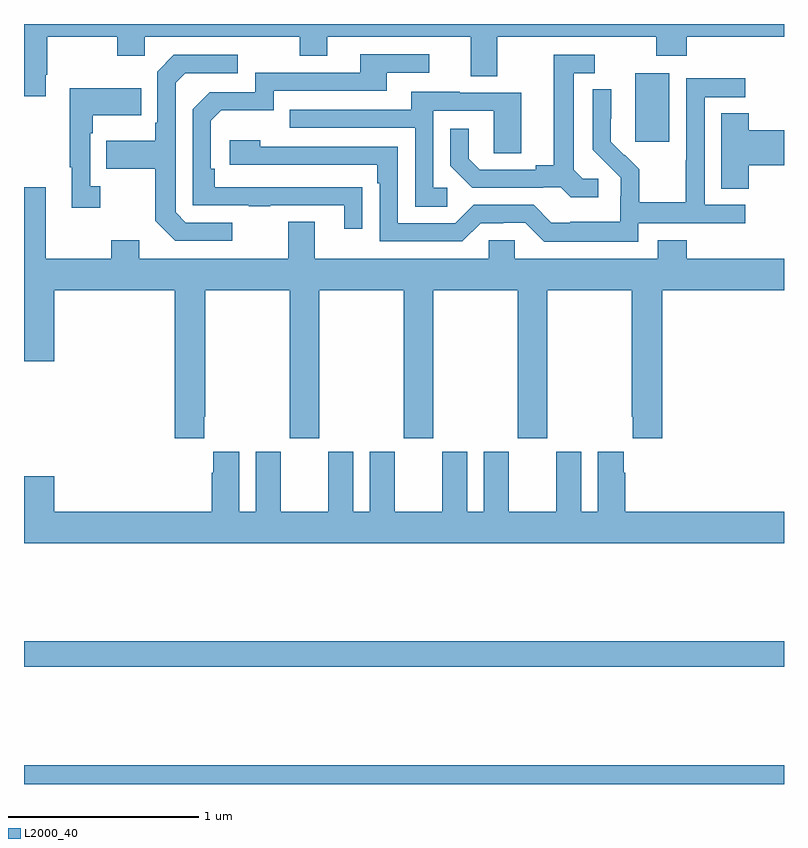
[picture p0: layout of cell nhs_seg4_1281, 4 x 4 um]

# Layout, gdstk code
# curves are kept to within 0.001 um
import gdstk
lib = gdstk.Library(unit=1e-6, precision=1e-09)
def R(c, l, rs):  # rectangles x0, y0, x1, y1
    for r in rs: c.add(gdstk.rectangle(r[:2], r[2:], *l))
def P(c, l, *ps):  # polygons
    for p in ps: c.add(gdstk.Polygon(p, *l))
L2000_40 = (2000, 40)

nhs_seg4_1281 = lib.new_cell('nhs_seg4_1281')
R(nhs_seg4_1281, L2000_40, [(177,780.9,181,781), (177,781.516,181,781.652), (180.218,784.281,180.397,784.642)])
P(nhs_seg4_1281, L2000_40, [(177.115,784.633),(177.123,784.633),(177.123,784.832),(177.49,784.832),(177.49,784.733),(177.636,784.733),(177.636,784.832),(178.45,784.832),(178.45,784.733),(178.597,784.733),(178.597,784.832),(179.351,784.832),(179.351,784.624),(179.491,784.624),(179.491,784.832),(180.328,784.832),(180.328,784.733),(180.488,784.733),(180.488,784.832),(181,784.832),(181,784.9),(177,784.9),(177,784.521),(177.115,784.521)],
  [(178.781,784.04),(178.004,784.041),(178.004,784.138),(177.984,784.138),(177.984,784.392),(178.037,784.445),(178.314,784.445),(178.314,784.548),(178.909,784.548),(178.909,784.644),(179.134,784.644),(179.134,784.74),(178.769,784.74),(178.769,784.644),(178.218,784.644),(178.218,784.542),(177.978,784.542),(177.888,784.452),(177.888,783.945),(178.183,783.945),(178.183,783.94),(178.295,783.94),(178.295,783.945),(178.685,783.945),(178.685,783.822),(178.781,783.822)],
  [(178.096,783.855),(177.852,783.855),(177.798,783.909),(177.798,784.59),(177.849,784.641),(178.126,784.641),(178.126,784.737),(177.789,784.737),(177.702,784.65),(177.702,784.381),(177.69,784.381),(177.69,784.285),(177.433,784.285),(177.433,784.138),(177.69,784.138),(177.69,783.865),(177.795,783.759),(178.096,783.759)],
  [(180.022,784.086),(179.94,784.086),(179.893,784.133),(179.893,784.641),(180.004,784.641),(180.004,784.737),(179.789,784.737),(179.789,784.157),(179.693,784.157),(179.693,784.134),(179.398,784.134),(179.341,784.191),(179.341,784.348),(179.244,784.348),(179.244,784.154),(179.36,784.038),(179.732,784.038),(179.732,784.041),(179.826,784.041),(179.878,783.989),(180.022,783.989)],
  [(180.234,783.852),(180.796,783.852),(180.796,783.948),(180.582,783.948),(180.582,784.515),(180.796,784.515),(180.796,784.614),(180.486,784.614),(180.486,784.184),(180.484,784.184),(180.484,783.961),(180.239,783.961),(180.239,784.135),(180.162,784.212),(180.159,784.209),(180.089,784.28),(180.09,784.556),(179.994,784.556),(179.994,784.238),(180.14,784.09),(180.14,783.993),(180.138,783.993),(180.138,783.859),(179.875,783.859),(179.875,783.855),(179.775,783.855),(179.682,783.948),(179.367,783.948),(179.271,783.852),(178.968,783.852),(178.968,784.254),(178.244,784.254),(178.244,784.288),(178.083,784.288),(178.083,784.158),(178.859,784.158),(178.859,784.061),(178.872,784.061),(178.872,783.756),(179.307,783.756),(179.403,783.852),(179.522,783.852),(179.522,783.855),(179.637,783.855),(179.737,783.755),(180.234,783.755)],
  [(177.4,784.046),(177.348,784.046),(177.348,784.325),(177.361,784.325),(177.361,784.421),(177.617,784.421),(177.617,784.561),(177.24,784.561),(177.24,784.145),(177.251,784.145),(177.251,783.933),(177.4,783.933)],
  [(179.227,784.038),(179.154,784.038),(179.154,784.443),(179.472,784.443),(179.472,784.219),(179.617,784.219),(179.617,784.539),(179.293,784.539),(179.293,784.543),(179.039,784.543),(179.039,784.449),(178.399,784.449),(178.399,784.353),(179.058,784.353),(179.058,783.937),(179.227,783.937)],
  [(180.815,784.157),(181,784.157),(181,784.34),(180.815,784.34),(180.815,784.43),(180.671,784.43),(180.671,784.033),(180.815,784.033)],
  [(178.531,783.859),(178.391,783.859),(178.391,783.664),(177.607,783.664),(177.607,783.763),(177.46,783.763),(177.46,783.664),(177.115,783.664),(177.115,784.042),(177,784.042),(177,783.126),(177.16,783.126),(177.16,783.5),(177.794,783.5),(177.794,782.721),(177.949,782.721),(177.949,782.833),(177.954,782.833),(177.954,783.5),(178.399,783.5),(178.399,782.721),(178.554,782.721),(178.554,783.5),(178.999,783.5),(178.999,782.721),(179.154,782.721),(179.154,783.5),(179.599,783.5),(179.599,782.721),(179.754,782.721),(179.754,783.5),(180.199,783.5),(180.199,782.833),(180.203,782.833),(180.203,782.721),(180.359,782.721),(180.359,783.5),(181,783.5),(181,783.664),(180.488,783.664),(180.488,783.763),(180.335,783.763),(180.335,783.664),(179.583,783.664),(179.583,783.762),(179.445,783.762),(179.445,783.664),(178.531,783.664)],
  [(181,782.332),(180.164,782.332),(180.164,782.537),(180.157,782.537),(180.157,782.65),(180.02,782.65),(180.02,782.332),(179.932,782.332),(179.932,782.65),(179.801,782.65),(179.801,782.332),(179.551,782.332),(179.551,782.65),(179.42,782.65),(179.42,782.332),(179.332,782.332),(179.332,782.65),(179.201,782.65),(179.201,782.332),(178.951,782.332),(178.951,782.65),(178.82,782.65),(178.82,782.332),(178.732,782.332),(178.732,782.65),(178.601,782.65),(178.601,782.332),(178.351,782.332),(178.351,782.65),(178.22,782.65),(178.22,782.332),(178.132,782.332),(178.132,782.65),(177.995,782.65),(177.995,782.537),(177.989,782.537),(177.989,782.332),(177.16,782.332),(177.16,782.521),(177,782.521),(177,782.168),(181,782.168)])

lib.write_gds('nhs_seg4_1281.gds')
